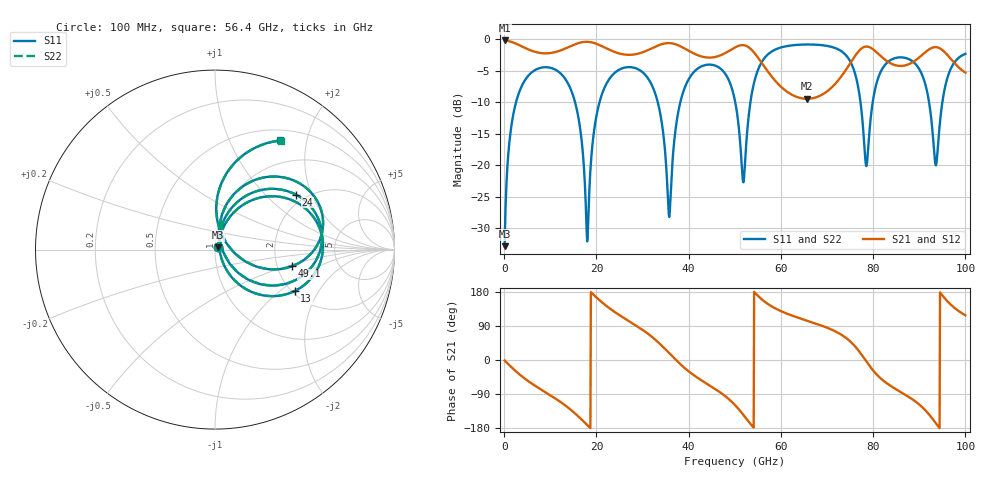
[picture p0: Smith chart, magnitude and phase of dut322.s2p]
! Touchstone file exported from HFSS 2026.1.0
!  File:  C:/ffzhzh/LocalFiles/Ansys_Project_Files/temp_train_TSV_RDL_322_1783701844_45496.aedt
!  Generated:  12:52:06 AM Jul 11, 2026
!  Design:  TSV_RDL
!  Project:  temp_train_TSV_RDL_322_1783701844_45496
! Variables:
!  h_bsmrdl = 4.88um
!  h_ox = 20um
!  h_rdl = 5um
!  h_sub = 72.27um
!  h_tmrdl = 3.36um
!  h_tsv = 72.27um
!  h_via = 3um
!  l_bsmrdl = 434.37um
!  l_sub = 3155.94um
!  l_tmrdl = 336.71um
!  m_sub = 200um
!  pitch = 57um
!  r_tsv = 9.26um
!  s_tmrdl = 10um
!  w_bsmrdl = 24.22um
!  w_sub = 500um
!  w_tmrdl = 11.11um
!  x_tsv_center1 = 342.265um
!  x_tsv_center2 = 800.855um
!  x_tsv_center3 = 1148.675um
!  x_tsv_center4 = 1607.265um
!  x_tsv_center5 = 1955.085um
!  x_tsv_center6 = 2413.675um
# GHz S MA R 50.000000
! Terminal data exported
! Port[1] = TM_RDL1_1_T1
! Port[2] = TM_RDL5_1_T1
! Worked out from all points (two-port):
!   1000 points, 100 MHz to 100 GHz, reference 50 ohm
!   highest |S21| = -0.16 dB at 100 MHz (marker M1); lowest = -9.4 dB at 65.7 GHz (marker M2)
!   |S21| within 3 dB of the highest: start of sweep to 55.31 GHz; 89.47 GHz to 96.93 GHz (7.463 GHz wide, 8.01 % of centre) (the widest 2 of 3)
!   lowest |S11| = -32.8 dB at 100 MHz (marker M3), VSWR 1.05, Z = 51.8 + j1.43 ohm
!   |S11| at or under -10 dB: 15.38 GHz to 20.66 GHz (5.275 GHz wide, 29.3 % of centre); 33.32 GHz to 38.18 GHz (4.867 GHz wide, 13.6 % of centre); 50.11 GHz to 53.38 GHz (3.271 GHz wide, 6.32 % of centre) (the widest 3 of 6)
!   |S22| runs from -32.8 to -0.8 dB; largest |S21 - S12| = 1.8e-12
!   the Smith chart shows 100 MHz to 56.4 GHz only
!   S11 on the Smith chart (normalised r, x): 100 MHz: 1.04, +0.03; 13 GHz: 2.07, -1.27; 24 GHz: 1.78, +1.55; 49.1 GHz: 2.41, -0.56; 56.4 GHz: 0.64, +1.57
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0.1  0.02288 37.2  0.982 -1.3  0.982 -1.3  0.02288 37.2
! Gamma 0 0 0 0
! Port Impedance 50 0 50 0
3.5  0.402 47.0  0.8925 -39.7  0.8925 -39.7  0.402 47.0
13  0.5004 -27.5  0.8396 -117.5  0.8396 -117.5  0.5003 -27.4
16.8  0.1578 -59.8  0.9493 -157.1  0.9493 -157.1  0.1578 -59.6
18.1  0.02707 29.3  0.9575 -172.6  0.9575 -172.6  0.02757 29.1
20.1  0.2577 67.7  0.9207 164.1  0.9207 164.1  0.2578 67.7
24  0.5447 34.2  0.7946 126.5  0.7946 126.5  0.5447 34.3
33.4  0.3075 -38.1  0.8964 46.7  0.8964 46.7  0.3075 -37.8
35.8  0.03904 20.4  0.9362 18.0  0.9362 18.0  0.04105 20.7
39.9  0.4754 57.1  0.8172 -28.8  0.8172 -28.8  0.4757 57.0
49.1  0.4381 -12.3  0.8256 -107.4  0.8256 -107.4  0.4384 -12.1
50.1  0.3179 -20.1  0.8666 -119.5  0.8666 -119.5  0.3182 -19.8
51.9  0.07354 39.0  0.9006 -145.4  0.9006 -145.4  0.07502 38.9
56.4  0.7088 59.1  0.6097 154.7  0.6097 154.7  0.709 59.0
65.7  0.9125 12.9  0.3382 103.7  0.3382 103.7  0.9126 12.9
66.7  0.9118 9.2  0.3407 99.7  0.3407 99.7  0.9119 9.3
75.2  0.652 -36.6  0.6619 47.1  0.6619 47.1  0.6521 -36.6
78.5  0.09874 -6.0  0.8786 -3.3  0.8786 -3.3  0.09762 -6.1
83.4  0.6716 21.5  0.6587 -65.1  0.6587 -65.1  0.6714 21.7
90.2  0.5642 -24.0  0.7309 -119.6  0.7309 -119.6  0.5644 -23.7
93.8  0.1101 33.2  0.8677 -170.2  0.8677 -170.2  0.113 32.8
100  0.769 25.2  0.5459 117.8  0.5459 117.8  0.7691 25.2
